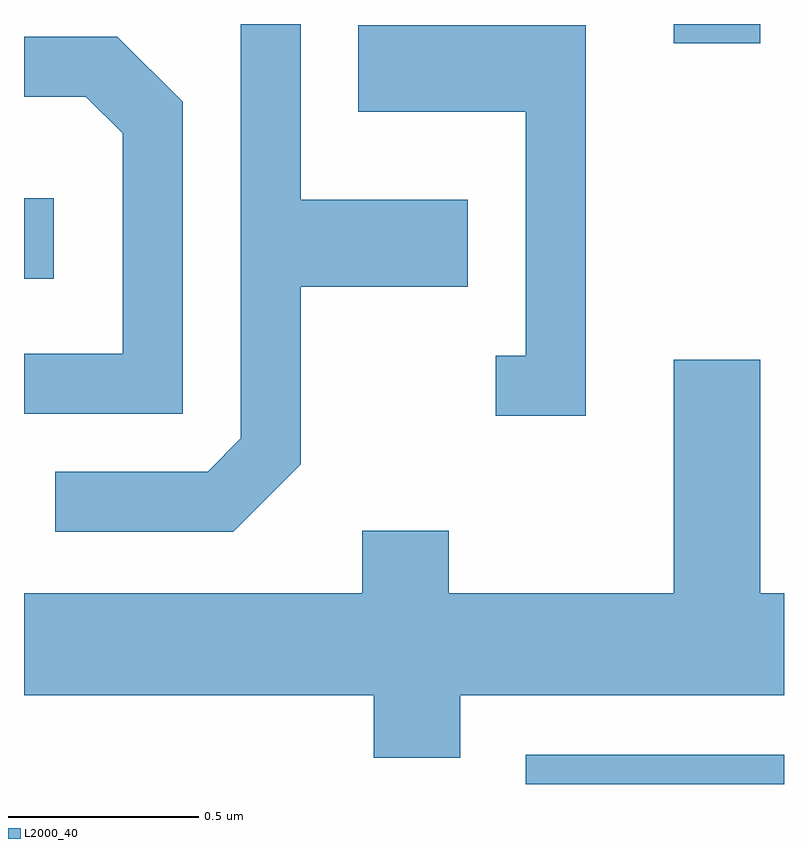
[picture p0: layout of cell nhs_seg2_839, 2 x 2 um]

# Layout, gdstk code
import gdstk
lib = gdstk.Library(unit=1e-6, precision=1e-09)
def R(c, l, rs):  # rectangles x0, y0, x1, y1
    for r in rs: c.add(gdstk.rectangle(r[:2], r[2:], *l))
def P(c, l, *ps):  # polygons
    for p in ps: c.add(gdstk.Polygon(p, *l))
L2000_40 = (2000, 40)

nhs_seg2_839 = lib.new_cell('nhs_seg2_839')
R(nhs_seg2_839, L2000_40, [(192.931,994.802,193.611,994.879), (191.611,996.131,191.689,996.344), (193.321,996.751,193.549,996.802)])
P(nhs_seg2_839, L2000_40, [(192.339,995.644),(192.339,996.111),(192.779,996.111),(192.779,996.339),(192.339,996.339),(192.339,996.802),(192.181,996.802),(192.181,995.712),(192.094,995.624),(191.693,995.624),(191.693,995.466),(192.162,995.466)],
  [(193.089,996.799),(192.491,996.799),(192.491,996.571),(192.931,996.571),(192.931,995.929),(192.853,995.929),(192.853,995.771),(193.089,995.771)],
  [(192.029,996.597),(191.857,996.769),(191.611,996.769),(191.611,996.611),(191.774,996.611),(191.871,996.514),(191.871,995.934),(191.611,995.934),(191.611,995.776),(192.029,995.776)],
  [(192.759,995.036),(193.611,995.036),(193.611,995.304),(193.549,995.304),(193.549,995.919),(193.321,995.919),(193.321,995.304),(192.729,995.304),(192.729,995.469),(192.501,995.469),(192.501,995.304),(191.611,995.304),(191.611,995.036),(192.531,995.036),(192.531,994.871),(192.759,994.871)])

lib.write_gds('nhs_seg2_839.gds')
